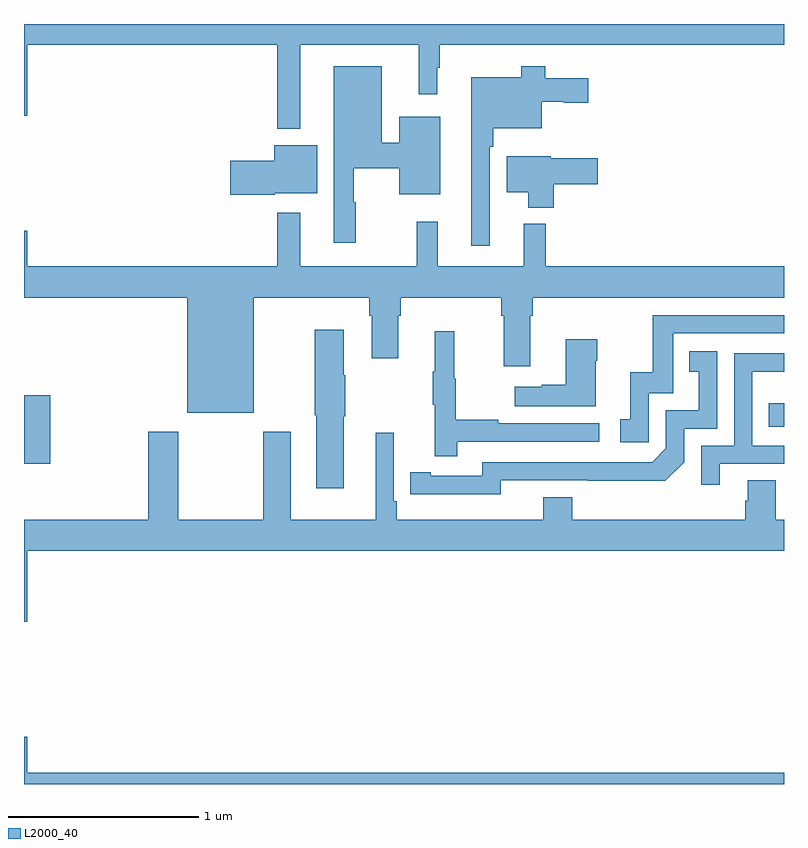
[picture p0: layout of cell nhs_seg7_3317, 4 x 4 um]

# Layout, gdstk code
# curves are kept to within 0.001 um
import gdstk
lib = gdstk.Library(unit=1e-6, precision=1e-09)
def R(c, l, rs):  # rectangles x0, y0, x1, y1
    for r in rs: c.add(gdstk.rectangle(r[:2], r[2:], *l))
def P(c, l, *ps):  # polygons
    for p in ps: c.add(gdstk.Polygon(p, *l))
L2000_40 = (2000, 40)

nhs_seg7_3317 = lib.new_cell('nhs_seg7_3317')
R(nhs_seg7_3317, L2000_40, [(321,1055.686,321.137,1056.046), (324.919,1055.88,325,1056.003)])
P(nhs_seg7_3317, L2000_40, [(322.453,1057.892),(323.078,1057.892),(323.078,1057.629),(323.176,1057.629),(323.176,1057.769),(323.188,1057.769),(323.188,1057.892),(325,1057.892),(325,1058),(321,1058),(321,1057.518),(321.016,1057.518),(321.016,1057.892),(322.332,1057.892),(322.332,1057.448),(322.453,1057.448)],
  [(323.451,1057.355),(323.471,1057.355),(323.471,1057.451),(323.725,1057.451),(323.725,1057.592),(323.84,1057.592),(323.84,1057.585),(323.971,1057.585),(323.971,1057.714),(323.744,1057.714),(323.744,1057.777),(323.616,1057.777),(323.616,1057.72),(323.354,1057.72),(323.354,1056.834),(323.451,1056.834)],
  [(322.745,1057.062),(322.735,1057.062),(322.735,1057.24),(322.976,1057.24),(322.976,1057.103),(323.191,1057.103),(323.191,1057.513),(322.976,1057.513),(322.976,1057.376),(322.882,1057.376),(322.882,1057.777),(322.631,1057.777),(322.631,1056.849),(322.745,1056.849)],
  [(322.32,1057.109),(322.543,1057.109),(322.543,1057.363),(322.316,1057.363),(322.316,1057.28),(322.086,1057.28),(322.086,1057.102),(322.32,1057.102)],
  [(323.789,1057.156),(324.019,1057.156),(324.019,1057.293),(323.772,1057.293),(323.772,1057.303),(323.54,1057.303),(323.54,1057.115),(323.654,1057.115),(323.654,1057.034),(323.789,1057.034)],
  [(322.21,1056.56),(322.817,1056.56),(322.817,1056.464),(322.829,1056.464),(322.829,1056.24),(322.969,1056.24),(322.969,1056.464),(322.982,1056.464),(322.982,1056.56),(323.513,1056.56),(323.513,1056.464),(323.525,1056.464),(323.525,1056.198),(323.665,1056.198),(323.665,1056.464),(323.678,1056.464),(323.678,1056.56),(325,1056.56),(325,1056.724),(323.747,1056.724),(323.747,1056.949),(323.63,1056.949),(323.63,1056.724),(323.177,1056.724),(323.177,1056.958),(323.067,1056.958),(323.067,1056.724),(322.453,1056.724),(322.453,1057.006),(322.332,1057.006),(322.332,1056.724),(321.016,1056.724),(321.016,1056.913),(321,1056.913),(321,1056.56),(321.86,1056.56),(321.86,1055.954),(322.21,1055.954)],
  [(324.288,1056.057),(324.417,1056.057),(324.417,1056.372),(325,1056.372),(325,1056.468),(324.309,1056.468),(324.309,1056.166),(324.191,1056.166),(324.191,1055.919),(324.138,1055.919),(324.138,1055.799),(324.288,1055.799)],
  [(322.684,1055.935),(322.692,1055.935),(322.692,1056.152),(322.684,1056.152),(322.684,1056.391),(322.531,1056.391),(322.531,1055.941),(322.538,1055.941),(322.538,1055.556),(322.684,1055.556)],
  [(323.279,1055.802),(324.028,1055.802),(324.028,1055.898),(323.495,1055.898),(323.495,1055.918),(323.272,1055.918),(323.272,1056.132),(323.264,1056.132),(323.264,1056.382),(323.162,1056.382),(323.162,1056.169),(323.151,1056.169),(323.151,1055.995),(323.162,1055.995),(323.162,1055.724),(323.279,1055.724)],
  [(324.01,1056.227),(324.018,1056.227),(324.018,1056.34),(323.852,1056.34),(323.852,1056.101),(323.726,1056.101),(323.726,1056.091),(323.583,1056.091),(323.583,1055.987),(324.01,1055.987)],
  [(323.508,1055.598),(324.376,1055.597),(324.474,1055.694),(324.474,1055.871),(324.648,1055.871),(324.648,1056.277),(324.502,1056.277),(324.502,1056.171),(324.551,1056.171),(324.551,1055.967),(324.378,1055.967),(324.378,1055.766),(324.306,1055.694),(323.412,1055.694),(323.412,1055.622),(323.14,1055.622),(323.14,1055.642),(323.032,1055.642),(323.032,1055.526),(323.508,1055.525)],
  [(324.661,1055.685),(325,1055.685),(325,1055.781),(324.834,1055.781),(324.834,1056.17),(325,1056.17),(325,1056.267),(324.738,1056.267),(324.738,1055.781),(324.564,1055.781),(324.564,1055.574),(324.661,1055.574)],
  [(321.016,1055.228),(325,1055.228),(325,1055.392),(324.957,1055.392),(324.957,1055.6),(324.809,1055.6),(324.809,1055.49),(324.797,1055.49),(324.797,1055.392),(323.885,1055.392),(323.885,1055.509),(323.732,1055.509),(323.732,1055.392),(322.961,1055.392),(322.961,1055.488),(322.947,1055.488),(322.947,1055.848),(322.85,1055.848),(322.85,1055.392),(322.405,1055.392),(322.405,1055.854),(322.258,1055.854),(322.258,1055.392),(321.813,1055.392),(321.813,1055.854),(321.653,1055.854),(321.653,1055.392),(321,1055.392),(321,1054.854),(321.016,1054.854)],
  [(325,1054.06),(321.016,1054.06),(321.016,1054.249),(321,1054.249),(321,1054),(325,1054)])

lib.write_gds('nhs_seg7_3317.gds')
